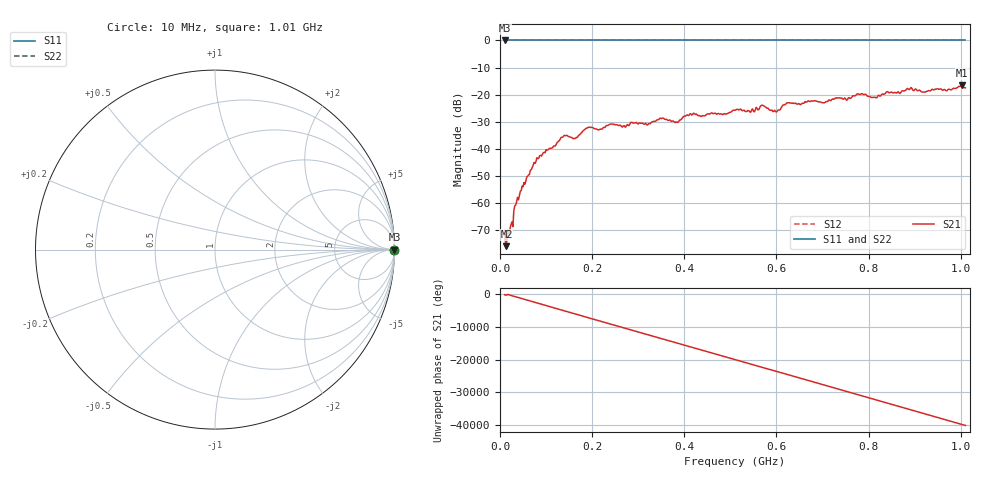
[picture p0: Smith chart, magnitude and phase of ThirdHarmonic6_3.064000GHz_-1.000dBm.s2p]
! 8/17/2025 8:56:19 AM
! C:\ANRITSUVNA\TEMP\TEMP.S2P
! CHANNEL.1
! TR.MEASUREMENT
! RAW.DATA
! RF.CORRECTION.OFF
! AVERAGING.OFF
! IF.BANDWIDTH: 5KHZ
! SWEEPTYPE:  FREQ.SWEEP(Linear)
! Reference Plane Port Info
! PORT:  PORT1  PORT2
! DISTANCE:  0  m  0  m
! TIME:  0  s  0  s
! PHASE.OFFSET:  0  deg.  0  deg.
! LOSS:  0  dB  0  dB
! REF.LOSS:  0  dB  0  dB
! REF.FREQ:  0  Hz  0  Hz
! Power Info
! POWER:  -20  dBm  -20  dBm
! EFF.POWER:  -20  dBm  -20  dBm
! SOURCE.ATTEN:  0  dB  0  dB
! TEST.ATTEN:  0  dB  0  dB
# GHZ S RI R 50.0
! FREQ.GHZ  S11RE  S11IM  S21RE  S21IM  S12RE  S12IM  S22RE  S22IM
!; PortSelection: Port_12
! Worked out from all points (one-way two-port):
!   501 points, 10 MHz to 1.01 GHz, reference 50 ohm
!   highest |S21| = -16.56 dB at 1.002 GHz (marker M1); lowest = -75.9 dB at 14 MHz (marker M2)
!   lowest |S11| = 0.0 dB at 10 MHz (marker M3)
!   |S11| at or under -10 dB: nowhere
!   |S22| runs from 0.0 to 0.0 dB; largest |S21 - S12| = 1.1
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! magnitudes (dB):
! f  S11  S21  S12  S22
! 10 MHz  0.0  -70.0  0.0  0.0
! 14 MHz  0.0  -75.9  0.0  0.0
! 24 MHz  0.0  -67.9  0.0  0.0
! 34 MHz  0.0  -60.7  0.0  0.0
! 48 MHz  0.0  -53.7  0.0  0.0
! 78 MHz  0.0  -44.7  0.0  0.0
! 136 MHz  0.0  -35.7  0.0  0.0
! 162 MHz  0.0  -36.2  0.0  0.0
! 178 MHz  0.0  -33.8  0.0  0.0
! 344 MHz  0.0  -29.3  0.0  0.0
! 384 MHz  0.0  -30.2  0.0  0.0
! 416 MHz  0.0  -27.5  0.0  0.0
! 510 MHz  0.0  -25.8  0.0  0.0
! 570 MHz  0.0  -23.9  0.0  0.0
! 596 MHz  0.0  -25.7  0.0  0.0
! 624 MHz  0.0  -23.0  0.0  0.0
! 678 MHz  0.0  -22.4  0.0  0.0
! 780 MHz  0.0  -19.9  0.0  0.0
! 814 MHz  0.0  -21.0  0.0  0.0
! 844 MHz  0.0  -19.3  0.0  0.0
! 1.002 GHz  0.0  -16.6  0.0  0.0
! 1.01 GHz  0.0  -17.5  0.0  0.0
